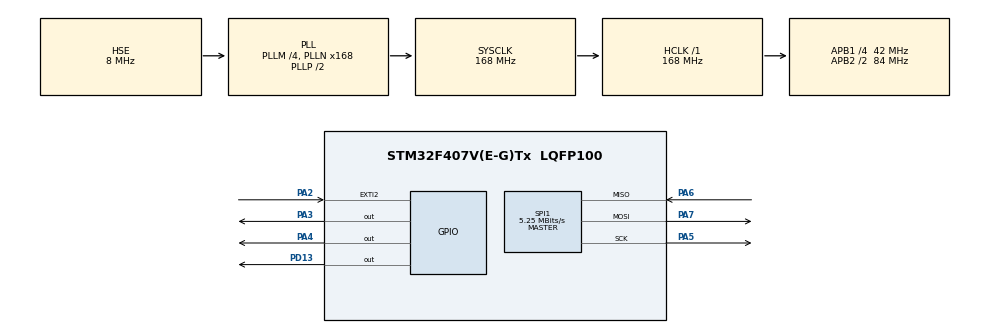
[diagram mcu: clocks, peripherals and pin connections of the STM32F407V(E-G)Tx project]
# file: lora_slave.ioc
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Mcu.Family=STM32F4
Mcu.Name=STM32F407V(E-G)Tx
Mcu.Package=LQFP100
NVIC.EXTI2_IRQn=true\:0\:0\:false\:false\:true\:true\:true\:true
NVIC.PriorityGroup=NVIC_PRIORITYGROUP_4
PA13.Mode=Serial_Wire
PA13.Signal=SYS_JTMS-SWDIO
PA14.Mode=Serial_Wire
PA14.Signal=SYS_JTCK-SWCLK
PA2.Signal=GPXTI2
PA3.Signal=GPIO_Output
PA4.Signal=GPIO_Output
PA5.Mode=Full_Duplex_Master
PA5.Signal=SPI1_SCK
PA6.Mode=Full_Duplex_Master
PA6.Signal=SPI1_MISO
PA7.Mode=Full_Duplex_Master
PA7.Signal=SPI1_MOSI
PD13.Signal=GPIO_Output
PH0-OSC_IN.Mode=HSE-External-Oscillator
PH0-OSC_IN.Signal=RCC_OSC_IN
PH1-OSC_OUT.Mode=HSE-External-Oscillator
PH1-OSC_OUT.Signal=RCC_OSC_OUT
ProjectManager.HeapSize=0x200
ProjectManager.StackSize=0x400
ProjectManager.TargetToolchain=STM32CubeIDE
RCC.48MHZClocksFreq_Value=84000000
RCC.AHBFreq_Value=168000000
RCC.APB1CLKDivider=RCC_HCLK_DIV4
RCC.APB1Freq_Value=42000000
RCC.APB1TimFreq_Value=84000000
RCC.APB2CLKDivider=RCC_HCLK_DIV2
RCC.APB2Freq_Value=84000000
RCC.APB2TimFreq_Value=168000000
RCC.CortexFreq_Value=168000000
RCC.HCLKFreq_Value=168000000
RCC.HSE_VALUE=8000000
RCC.HSI_VALUE=16000000
RCC.LSE_VALUE=32768
RCC.PLLM=4
RCC.PLLN=168
RCC.PLLSourceVirtual=RCC_PLLSOURCE_HSE
RCC.SYSCLKFreq_VALUE=168000000
RCC.SYSCLKSource=RCC_SYSCLKSOURCE_PLLCLK
RCC.VCOOutputFreq_Value=336000000
SPI1.BaudRatePrescaler=SPI_BAUDRATEPRESCALER_16
SPI1.CalculateBaudRate=5.25 MBits/s
SPI1.Direction=SPI_DIRECTION_2LINES
SPI1.Mode=SPI_MODE_MASTER
SPI1.VirtualType=VM_MASTER
board=custom

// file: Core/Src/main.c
/* USER CODE BEGIN Header */
/**
 ******************************************************************************
 * @file           : main.c
 * @brief          : Main program body
 ******************************************************************************
 * @attention
 *
 * Copyright (c) 2024 STMicroelectronics.
 * All rights reserved.
 *
 * This software is licensed under terms that can be found in the LICENSE file
 * in the root directory of this software component.
 * If no LICENSE file comes with this software, it is provided AS-IS.
 *
 ******************************************************************************
 */
/* USER CODE END Header */
#include "main.h"

/* USER CODE BEGIN Includes */
#include "sx1278.h"
#include <string.h>
/* USER CODE END Includes */

/* USER CODE BEGIN PTD */
union read {
	u8 u8_num;
	struct rd {
		u8 bit0:1;
		u8 bit1:1;
		u8 bit2:1;
		u8 bit3:1;
		u8 bit4:1;
		u8 bit5:1;
		u8 bit6:1;
		u8 bit7:1;
	} bit;
};
/* USER CODE END PTD */

SPI_HandleTypeDef hspi1;

/* USER CODE BEGIN PV */
struct lora_dev sx1278;
int rssi_val = 0;
/* USER CODE END PV */

void SystemClock_Config(void);
static void MX_GPIO_Init(void);
static void MX_SPI1_Init(void);

/* USER CODE BEGIN 0 */
void lora_get_data(struct lora_dev *lora, u8 *buf, u32 size) {
	if (!strncmp((char *)buf, "tb4", strlen("tb4"))) {
		HAL_GPIO_TogglePin(GPIOD, GPIO_PIN_13);
	}
}
/* USER CODE END 0 */

int main(void)
{

  /* MCU Configuration--------------------------------------------------------*/

  /* Reset of all peripherals, Initializes the Flash interface and the Systick. */
  HAL_Init();

  /* Configure the system clock */
  SystemClock_Config();

  /* Initialize all configured peripherals */
  MX_GPIO_Init();
  MX_SPI1_Init();
  /* USER CODE BEGIN 2 */

	sx1278.frequency					    = 433;
	sx1278.spreadingFactor				= SF_7;
	sx1278.bandWidth					    = BW_125_KHZ;
	sx1278.codingRate					    = CR_4_5;
	sx1278.power					  	    = POWER_17_DB;
	sx1278.overCurrentProtection	= 100;
	sx1278.preamble						    = 8;

	sx1278.cs_port  				  	  = GPIOA;
	sx1278.cs_pin   					    = GPIO_PIN_4;
	sx1278.rst_port 					    = GPIOA;
	sx1278.rst_pin  					    = GPIO_PIN_3;
	sx1278.spi      					    = &hspi1;
	sx1278.dio0_pin						    = GPIO_PIN_2;
	sx1278.dio0_irq_number				= EXTI2_IRQn;

	sx1278.rx_buf						      = NULL;
	sx1278.rx_buf_size					  = RX_MAX_SIZE;
	sx1278.receive_buf 					  = lora_get_data;

	HAL_GPIO_WritePin(GPIOD, GPIO_PIN_13, GPIO_PIN_SET);
	HAL_Delay(2000);
	while (lora_init(&sx1278) != LORA_SUCCESS) {
		HAL_Delay(100);
	}
	lora_start_receiving(&sx1278);
	HAL_GPIO_WritePin(GPIOD, GPIO_PIN_13, GPIO_PIN_RESET);
	UNUSED(rssi_val);

  /* USER CODE END 2 */

  /* Infinite loop */
	while (1) {

    /* USER CODE BEGIN 3 */
		rssi_val = lora_get_rssi(&sx1278);
		HAL_Delay(1500);
	}
  /* USER CODE END 3 */
}

void SystemClock_Config(void)
{
  RCC_OscInitTypeDef RCC_OscInitStruct = {0};
  RCC_ClkInitTypeDef RCC_ClkInitStruct = {0};

  /** Configure the main internal regulator output voltage
  */
  __HAL_RCC_PWR_CLK_ENABLE();
  __HAL_PWR_VOLTAGESCALING_CONFIG(PWR_REGULATOR_VOLTAGE_SCALE1);

  /** Initializes the RCC Oscillators according to the specified parameters
  * in the RCC_OscInitTypeDef structure.
  */
  RCC_OscInitStruct.OscillatorType = RCC_OSCILLATORTYPE_HSE;
  RCC_OscInitStruct.HSEState = RCC_HSE_ON;
  RCC_OscInitStruct.PLL.PLLState = RCC_PLL_ON;
  RCC_OscInitStruct.PLL.PLLSource = RCC_PLLSOURCE_HSE;
  RCC_OscInitStruct.PLL.PLLM = 4;
  RCC_OscInitStruct.PLL.PLLN = 168;
  RCC_OscInitStruct.PLL.PLLP = RCC_PLLP_DIV2;
  RCC_OscInitStruct.PLL.PLLQ = 4;
  if (HAL_RCC_OscConfig(&RCC_OscInitStruct) != HAL_OK)
  {
    Error_Handler();
  }

  /** Initializes the CPU, AHB and APB buses clocks
  */
  RCC_ClkInitStruct.ClockType = RCC_CLOCKTYPE_HCLK|RCC_CLOCKTYPE_SYSCLK
                              |RCC_CLOCKTYPE_PCLK1|RCC_CLOCKTYPE_PCLK2;
  RCC_ClkInitStruct.SYSCLKSource = RCC_SYSCLKSOURCE_PLLCLK;
  RCC_ClkInitStruct.AHBCLKDivider = RCC_SYSCLK_DIV1;
  RCC_ClkInitStruct.APB1CLKDivider = RCC_HCLK_DIV4;
  RCC_ClkInitStruct.APB2CLKDivider = RCC_HCLK_DIV2;

  if (HAL_RCC_ClockConfig(&RCC_ClkInitStruct, FLASH_LATENCY_5) != HAL_OK)
  {
    Error_Handler();
  }
}

static void MX_SPI1_Init(void)
{

  /* SPI1 parameter configuration*/
  hspi1.Instance = SPI1;
  hspi1.Init.Mode = SPI_MODE_MASTER;
  hspi1.Init.Direction = SPI_DIRECTION_2LINES;
  hspi1.Init.DataSize = SPI_DATASIZE_8BIT;
  hspi1.Init.CLKPolarity = SPI_POLARITY_LOW;
  hspi1.Init.CLKPhase = SPI_PHASE_1EDGE;
  hspi1.Init.NSS = SPI_NSS_SOFT;
  hspi1.Init.BaudRatePrescaler = SPI_BAUDRATEPRESCALER_16;
  hspi1.Init.FirstBit = SPI_FIRSTBIT_MSB;
  hspi1.Init.TIMode = SPI_TIMODE_DISABLE;
  hspi1.Init.CRCCalculation = SPI_CRCCALCULATION_DISABLE;
  hspi1.Init.CRCPolynomial = 10;
  if (HAL_SPI_Init(&hspi1) != HAL_OK)
  {
    Error_Handler();
  }

}

static void MX_GPIO_Init(void)
{
  GPIO_InitTypeDef GPIO_InitStruct = {0};

  /* GPIO Ports Clock Enable */
  __HAL_RCC_GPIOH_CLK_ENABLE();
  __HAL_RCC_GPIOA_CLK_ENABLE();
  __HAL_RCC_GPIOD_CLK_ENABLE();

  /*Configure GPIO pin Output Level */
  HAL_GPIO_WritePin(GPIOA, GPIO_PIN_3|GPIO_PIN_4, GPIO_PIN_RESET);

  /*Configure GPIO pin Output Level */
  HAL_GPIO_WritePin(GPIOD, GPIO_PIN_13, GPIO_PIN_RESET);

  /*Configure GPIO pin : PA2 */
  GPIO_InitStruct.Pin = GPIO_PIN_2;
  GPIO_InitStruct.Mode = GPIO_MODE_IT_RISING;
  GPIO_InitStruct.Pull = GPIO_NOPULL;
  HAL_GPIO_Init(GPIOA, &GPIO_InitStruct);

  /*Configure GPIO pins : PA3 PA4 */
  GPIO_InitStruct.Pin = GPIO_PIN_3|GPIO_PIN_4;
  GPIO_InitStruct.Mode = GPIO_MODE_OUTPUT_PP;
  GPIO_InitStruct.Pull = GPIO_NOPULL;
  GPIO_InitStruct.Speed = GPIO_SPEED_FREQ_LOW;
  HAL_GPIO_Init(GPIOA, &GPIO_InitStruct);

  /*Configure GPIO pin : PD13 */
  GPIO_InitStruct.Pin = GPIO_PIN_13;
  GPIO_InitStruct.Mode = GPIO_MODE_OUTPUT_PP;
  GPIO_InitStruct.Pull = GPIO_NOPULL;
  GPIO_InitStruct.Speed = GPIO_SPEED_FREQ_LOW;
  HAL_GPIO_Init(GPIOD, &GPIO_InitStruct);

  /* EXTI interrupt init*/
  HAL_NVIC_SetPriority(EXTI2_IRQn, 0, 0);
  HAL_NVIC_EnableIRQ(EXTI2_IRQn);

}

void Error_Handler(void)
{
	__disable_irq();
	while (1)
	{
	}
}
